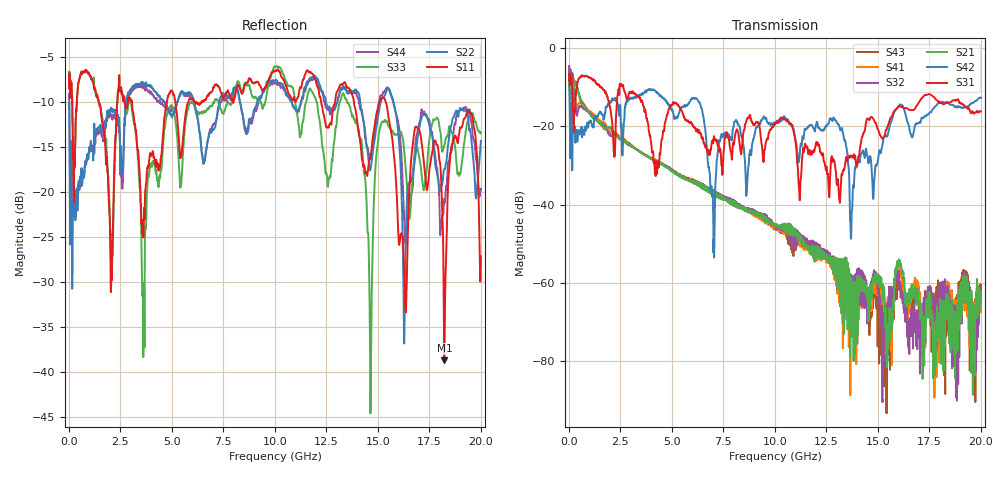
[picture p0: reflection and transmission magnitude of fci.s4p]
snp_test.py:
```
import pylab
import skrf as rf

import numpy as np



'''cm = (1/np.sqrt(2)) * np.matrix([[1, -1, 0, 0],
                                   [1, 1, 0, 0],
                                   [0, 0, 1, -1],
                                   [0, 0, 1, 1]], dtype = float)'''


swap =  np.matrix([[0, 1, 0, 0],
                   [1, 0, 0, 0],
                   [0, 0, 1, 0],
                   [0, 0, 0, 1]], dtype = float)

print swap

cm = (1/np.sqrt(2)) * np.matrix([[1, -1, 0, 0],
                                   [1, 1, 0, 0],
                                   [0, 0, 1, -1],
                                   [0, 0, 1, 1]], dtype = float)



# create a Network type from a touchstone file
rs = [rf.Network('fci.s4p'), rf.Network('fci.s4p')]


'''

        Respresentation of the ports before mapping

        Example : rs.renumber([1,2], [2,1]) swaps pin 1 with pin 2
                        
                   111111111111111111  
 (0)   ------------1                1------------   (2)
                   1                1
                   1                1
                   1                1
 (1)   ------------1                1------------   (3)
                   111111111111111111
'''

rs[0].renumber([1,2], [2,1] )

#orderMatrix = (swap * (rs * np.linalg.inv(swap)))

#out = (cm*orderMatrix)*np.linalg.inv(cm)

#out.renumber([0,-1], [-1,0] )


#print out.s

#orderMatrix.se2gmm(2)


rs[0].se2gmm(2)

#print rs


#print rs.se2gmm()
#rs.plot_s_smith(label = "1")
#pylab.show()

rs[0].write_touchstone("testout_mm", form="ri")





print np.array( list(rs[0].s[i,:,:].diagonal() for i in range(len(rs[0].f))))[0,0]


#rs.se2gmm(p=2)
#rs.plot_s_smith(label = "1")
#pylab.show()

#rs.write_touchstone("testout_mm")
```
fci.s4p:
!Keysight Technologies PLTS 2017U1, Build 20170714.1
!FILE: G:\CAP1P_CBP1N_CAP1N_CBP1P.s4p
!$DUT_CFG_DESC: Default 4-Port Configuration
!$NUMBER_PORTS: 4
!$DIFF_PORT_MAP: 1|2P|2|2P|0|UC|0|UC|
!$PORT_MAP: 1|1|<<<<<<|2|2|>>>>>>|3|3|<<<<<<|4|4|>>>>>>|
!Date: Tuesday, August 29, 2017, 01:43:54
!S4P File: Measurements: <S11,S12,S13,S14>,
!<S21,S22,S23,S24>,
!<S31,S32,S33,S34>,
!<S41,S42,S43,S44>:
# MHz S  RI  R 50
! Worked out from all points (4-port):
!   2000 points, 10 MHz to 20 GHz, reference 50 ohm
!   strongest paths, dB at 10 MHz, 5.01 GHz, 10.01 GHz, 15.01 GHz, 20 GHz:
!     S31: -8.4, -14.5, -19.5, -20.9, -16.3
!     S42: -9.9, -15.7, -19.2, -28.5, -12.8
!     S21: -9.7, -31.5, -45.0, -59.1, -62.2
!     S32: -4.7, -31.2, -45.6, -62.9, -63.2
!     S41: -4.7, -31.6, -45.9, -62.9, -67.3
!     S43: -9.2, -31.1, -45.8, -69.9, -60.5
!   lowest |S11| = -38.7 dB at 18.23 GHz (marker M1), VSWR 1.02, Z = 49 - j0.525 ohm
!   |S11| at or under -10 dB: 3.062 GHz to 4.756 GHz (1.694 GHz wide, 43.3 % of centre); 13.84 GHz to 15.06 GHz (1.221 GHz wide, 8.45 % of centre); 15.38 GHz to end of sweep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
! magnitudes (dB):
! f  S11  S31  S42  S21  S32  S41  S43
! 10 MHz  -8.5  -8.4  -9.9  -9.7  -4.7  -4.7  -9.2
! 18.23 GHz  -38.7  -14.4  -14.0  -76.4  -60.6  -62.9  -70.6
! 20 GHz  -27.2  -16.3  -12.8  -62.2  -63.2  -67.3  -60.5
